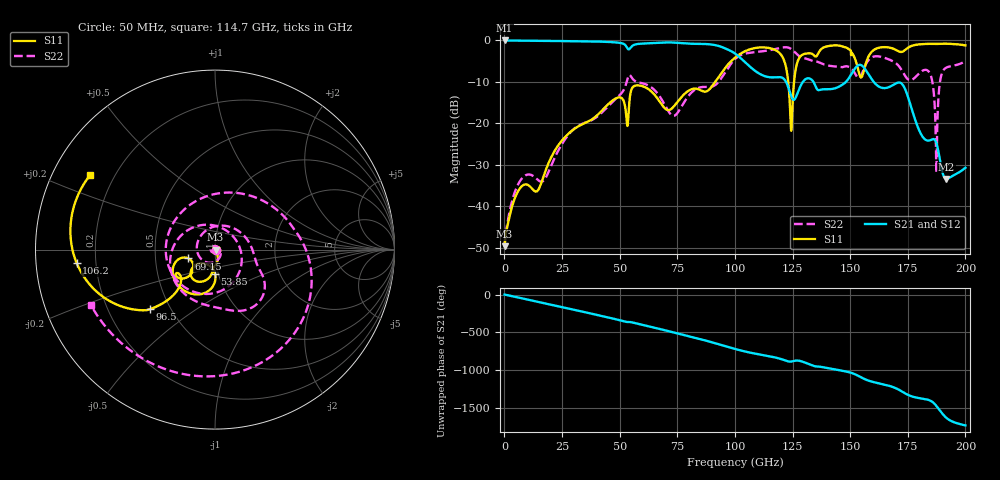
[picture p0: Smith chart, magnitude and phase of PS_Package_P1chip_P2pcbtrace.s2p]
! Touchstone file from project Full PS Package Sim
! Exported from HFSS 2018.1.0
! Variables:
!  InP_thk = -0.0748mm
!  SE_cut_x = 0.3m
!  TIM_thk = 0.036
!  bond_angle = 55deg
!  bond_diam = 0.025mm
!  bond_diam_signal = 0.025
!  bond_height = 0.1mm
!  chip_trace_width = 0.007m
!  pad_edge_2_chip_extent = 74m
!  pcb_trace_width = 0.25m
!  pcb_trace_width_SE = 0.42m
!  subst_thk = 0.2mm
# GHZ S MA R 50.000000
! Terminal data exported
! Port[1] = Box78_T1
! Port[2] = SE_Trace_T1
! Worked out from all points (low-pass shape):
!   4000 points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, 50 MHz to 200 GHz, reference per port
!   highest |S21| = -0.03 dB at 50 MHz (marker M1); lowest = -33.4 dB at 191.8 GHz (marker M2)
!   |S21| within 3 dB of the highest: start of sweep to 99.63 GHz
!   lowest |S11| = -49.6 dB at 50 MHz (marker M3), VSWR 1.01
!   |S11| at or under -10 dB: start of sweep to 91.44 GHz; 123.1 GHz to 125.6 GHz (2.529 GHz wide, 2.03 % of centre)
!   |S22| runs from -49.6 to -1.7 dB; largest |S21 - S12| = 2.2e-14
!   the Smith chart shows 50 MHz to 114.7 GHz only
!   S11 on the Smith chart (normalised r, x): 50 MHz: 1.01, +0.00; 53.85 GHz: 0.96, -0.27; 69.15 GHz: 0.74, -0.07; 96.5 GHz: 0.38, -0.34; 106.2 GHz: 0.13, -0.05; 114.7 GHz: 0.11, +0.27
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0.05  0.00331 2.8  0.9967 -0.4  0.9967 -0.4  0.00331 2.2
! Port Impedance50 0 0 0 0 0 50 0
15.05  0.01654 -82.2  0.9877 -100.2  0.9877 -100.2  0.02023 103.1
33.4  0.09633 -93.7  0.9742 136.9  0.9742 136.9  0.09774 -164.2
42.6  0.1457 -99.1  0.9626 73.7  0.9626 73.7  0.1377 76.2
53.85  0.1354 -89.9  0.7781 -3.2  0.7781 -3.2  0.3757 -46.4
66.7  0.1939 -166.1  0.9353 -90.1  0.9353 -90.1  0.2235 170.1
69.15  0.1562 -161.7  0.9418 -108.3  0.9418 -108.3  0.1749 135.7
80.75  0.2546 -141.2  0.91 163.9  0.91 163.9  0.229 -78.7
89.15  0.2609 -136.6  0.8945 96.9  0.8945 96.9  0.2746 157.4
96.5  0.4928 -137.6  0.781 31.7  0.781 31.7  0.4391 20.6
100.05  0.6177 -149.6  0.6927 1.4  0.6927 1.4  0.5951 -27.6
106.2  0.775 -174.6  0.4901 -44.9  0.4901 -44.9  0.7064 -91.8
114.65  0.8099 149.1  0.3606 -93.4  0.3606 -93.4  0.757 -155.8
124.45  0.08181 -38.3  0.2106 -165.1  0.2106 -165.1  0.7844 101.9
133.35  0.6898 152.6  0.3339 146.9  0.3339 146.9  0.5687 -17.3
153.95  0.3963 99.9  0.5057 -0.7  0.5057 -0.7  0.3497 -142.7
166.7  0.8206 104.9  0.2723 -123.2  0.2723 -123.2  0.5905 134.1
173.65  0.758 102.8  0.2655 138.3  0.2655 138.3  0.3807 12.3
183.2  0.9057 84.7  0.06234 55.2  0.06234 55.2  0.4389 -159.3
187.4  0.9051 77.4  0.05832 -30.5  0.05832 -30.5  0.02547 32.2
191.8  0.9103 69.7  0.0214 170.2  0.0214 170.2  0.4704 -152.6
200  0.8693 54.2  0.02914 71.3  0.02914 71.3  0.5596 157.5
